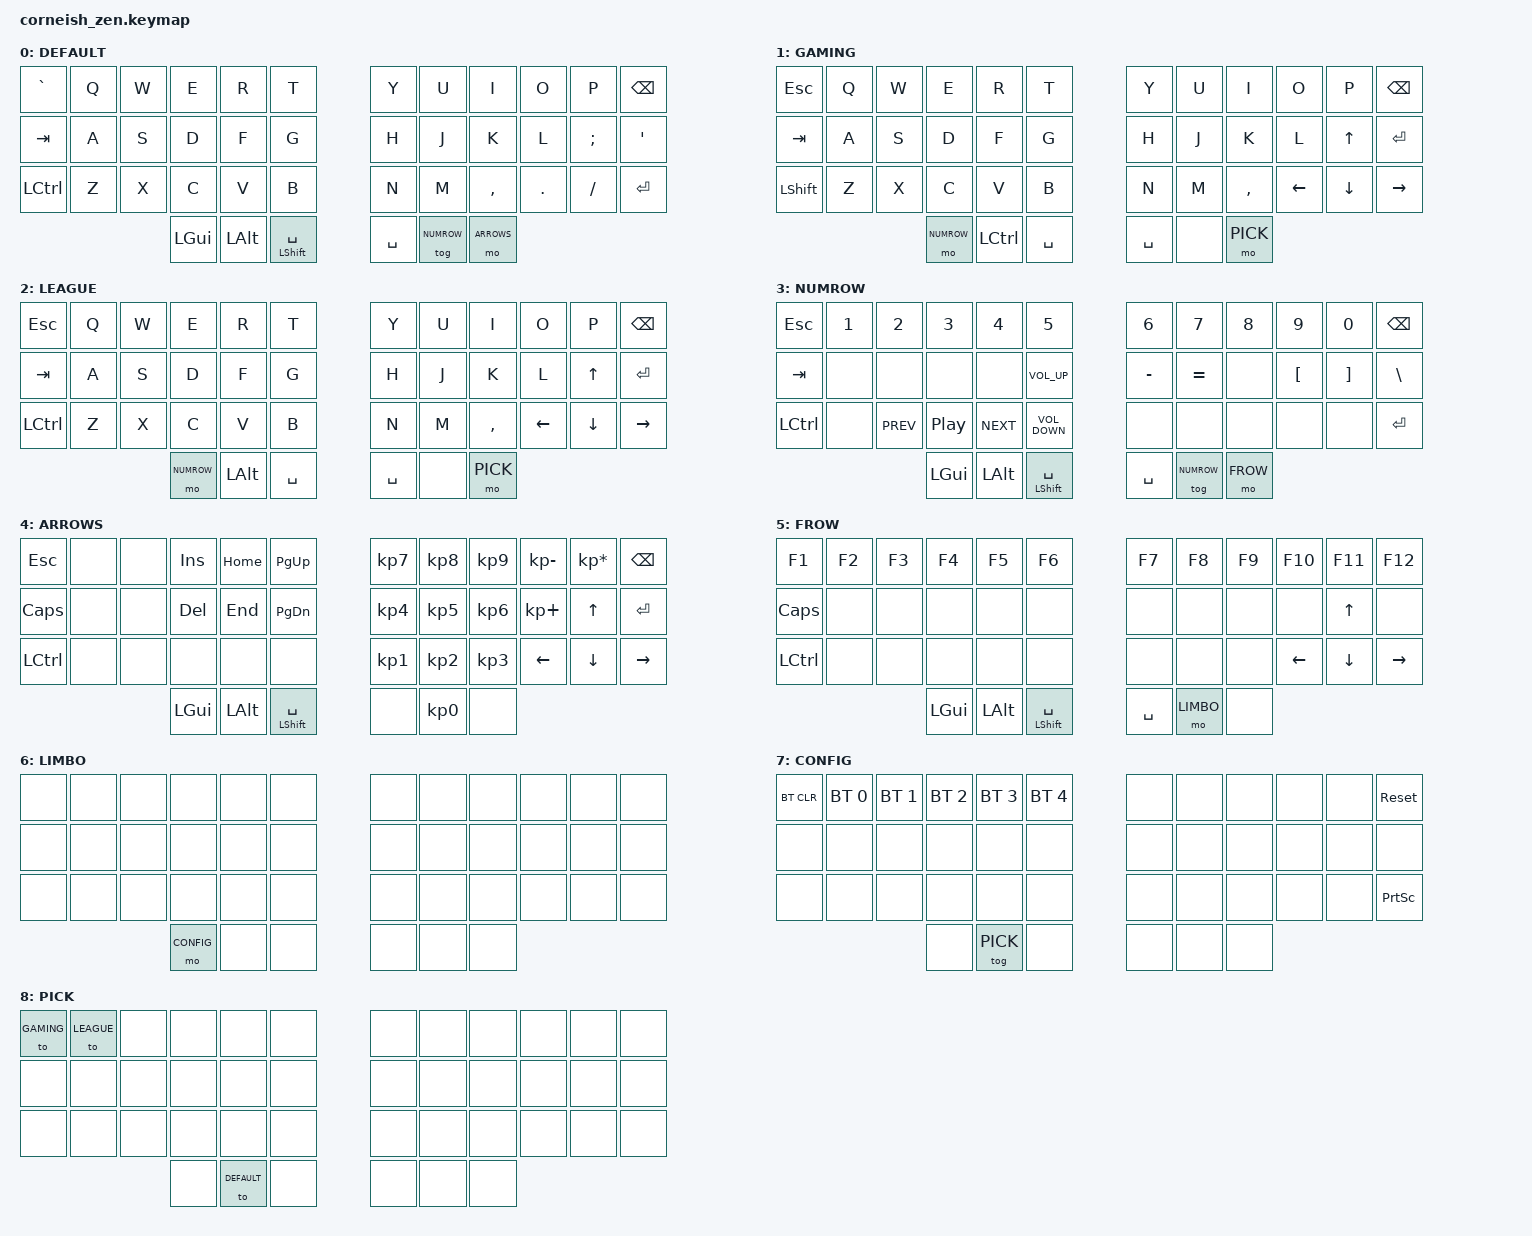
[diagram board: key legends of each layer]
#include <behaviors.dtsi>
#include <dt-bindings/zmk/keys.h>
#include <dt-bindings/zmk/bt.h>

#define DEFAULT 0
#define GAMING 1
#define LEAGUE 2
#define NUMROW 3
#define ARROWS 4
#define FROW 5
#define LIMBO 6
#define CONFIG 7
#define PICK 8

/ {
        keymap {
                compatible = "zmk,keymap";


// -----------------------------------------------------------------------------------------
// |  `~  |  Q  |  W  |  E  |  R  |  T  |      |  Y  |  U  |  I  |  O  |  P  | BKSP |
// | TAB  |  A  |  S  |  D  |  F  |  G  |      |  H  |  J  |  K  |  L  | ;:  | '"   |
// | CTRL |  Z  |  X  |  C  |  V  |  B  |      |  N  |  M  |  <, | .>  | /?  | ENTR |
//                    | GUI | ALT | SHIFT/SPC |  | SPACE |  NUMROW  |  ARROWS  |
//
                default_layer {
                        label = "DEFAULT";
                        bindings = <
   &kp GRAVE  &kp Q  &kp W  &kp E  &kp R  &kp T    &kp Y  &kp U  &kp I     &kp O    &kp P     &kp BSPC
   &kp TAB    &kp A  &kp S  &kp D  &kp F  &kp G    &kp H  &kp J  &kp K     &kp L    &kp SEMI  &kp SQT
   &kp LCTRL  &kp Z  &kp X  &kp C  &kp V  &kp B    &kp N  &kp M  &kp COMMA &kp DOT  &kp FSLH  &kp ENTER
                &kp LGUI  &kp LALT  &mt LSHIFT SPACE   &kp SPACE  &tog NUMROW  &mo ARROWS
                        >;
                };


// -----------------------------------------------------------------------------------------
// | ESC  |  Q  |  W  |  E  |  R  |  T  |      |  Y  |  U  |  I  |  O  |  P  | BKSP |
// | TAB  |  A  |  S  |  D  |  F  |  G  |      |  H  |  J  |  K  |  L  |  ⬆  | ENTR |
// | SHFT |  Z  |  X  |  C  |  V  |  B  |      |  N  |  M  |  <, |  ⬅ |  ⬇  |  ⮕  |
//                  | NUMROW | CTRL | SPACE |  | SPACE |     | PICK |
//
                gaming_layer {
                        label = "GAMING";
                        bindings = <
   &kp ESC  &kp Q &kp W &kp E &kp R &kp T    &kp Y &kp U &kp I    &kp O   &kp P    &kp BKSP
   &kp TAB  &kp A &kp S &kp D &kp F &kp G    &kp H &kp J &kp K    &kp L   &kp UP &kp ENTER
   &kp LSHFT &kp Z &kp X &kp C &kp V &kp B    &kp N &kp M &kp CMMA &kp LEFT &kp DOWN &kp RIGHT
               &mo NUMROW &kp LCTRL &kp SPC    &kp SPC &none &mo PICK
                        >;
                };

// -----------------------------------------------------------------------------------------
// | ESC  |  Q  |  W  |  E  |  R  |  T  |      |  Y  |  U  |  I  |  O  |  P  | BKSP |
// | TAB  |  A  |  S  |  D  |  F  |  G  |      |  H  |  J  |  K  |  L  |  ⬆  | ENTR |
// | CTRL |  Z  |  X  |  C  |  V  |  B  |      |  N  |  M  |  <, |  ⬅ |  ⬇  |  ⮕  |
//                   |NUMROW| ALT | SPACE |  | SPACE |     | PICK |
//
                league_layer {
                        label = "LEAGUE";
                        bindings = <
   &kp ESC  &kp Q &kp W &kp E &kp R &kp T    &kp Y &kp U &kp I    &kp O   &kp P    &kp BKSP
   &kp TAB  &kp A &kp S &kp D &kp F &kp G    &kp H &kp J &kp K    &kp L   &kp UP &kp ENTER
   &kp LCTRL &kp Z &kp X &kp C &kp V &kp B    &kp N &kp M &kp CMMA &kp LEFT &kp DOWN &kp RIGHT
               &mo NUMROW &kp LALT &kp SPC    &kp SPC &none &mo PICK
                        >;
                };

// -----------------------------------------------------------------------------------------
// | ESC  |  1! |  2@ |  3# |  4$ |  5% |      |  6^ |  7& |  8* | 9(  | 0)  | BKSP |
// | TAB  |     |     |     |     |VOLUP|      | -_  |  =+ |     | [{  | ]}  |  \|  |
// | CTRL |     |PREV|PLY/PSE|NEXT|VOLDN|      |     |     |     |     |     | ENTR |
//                    | GUI | ALT | SHIFT/SPC |  | SPACE | NUMROW | FROW |
//
                numrow_layer {
                        label = "NUMROW";
                        bindings = <
   &kp ESC   &kp N1 &kp N2 &kp N3 &kp N4 &kp N5      &kp N6 &kp N7 &kp N8 &kp N9 &kp N0 &kp BSPC
   &kp TAB   &none  &none  &none  &none  &kp C_VOLUME_UP       &kp MINUS &kp EQUAL &none &kp LBKT &kp RBKT &kp BSLH
   &kp LCTRL &none  &kp C_PREV  &kp C_PP  &kp C_NEXT  &kp C_VOLUME_DOWN       &none  &none  &none  &none  &none  &kp ENTER 
                &kp LGUI  &kp LALT &mt LSHIFT SPACE   &kp SPACE &tog NUMROW &mo FROW
                        >;
                };


// -----------------------------------------------------------------------------------------
// | ESC  |     |     | INS |HOME |PGUP |      |  7  |  8  |  9  |  -  |  *  | BKSP |
// | CAPS |     |     | DEL | END |PGDN |      |  4  |  5  |  6  |  +  |  ⬆  | ENTR |
// | CTRL |     |     |     |     |     |      |  1  |  2  |  3  |  ⬅ |  ⬇  |  ⮕  |
//                    | GUI | ALT | SHIFT/SPC |  |   |  0  |     |
//
                arrows_layer {
                        label = "ARROWS";
                        bindings = <
   &kp ESC     &none &none &kp INSERT &kp HOME &kp PG_UP       &kp KP_N7 &kp KP_N8 &kp KP_N9 &kp KP_MINUS &kp KP_MULTIPLY &kp BSPC
   &kp CAPS &none &none &kp DEL &kp END &kp PG_DN   &kp KP_N4 &kp KP_N5 &kp KP_N6 &kp KP_PLUS  &kp UP &kp ENTER
   &kp LCTRL &none &none &none &none &none       &kp KP_N1 &kp KP_N2 &kp KP_N3 &kp LEFT &kp DOWN &kp RIGHT
              &kp LGUI  &kp LALT  &mt LSHIFT SPACE              &none &kp KP_N0 &none
                        >;
                };


// -----------------------------------------------------------------------------------------
// |  F1  | F2  | F3  | F4  | F5  | F6  |      | F7  | F8   | F9  | F10 | F11 |  F12 |
// | CAPS |     |     |     |     |     |      |     |      |     |     |  ⬆  |      |
// | CTRL |     |     |     |     |     |      |     |      |     |  ⬅ |  ⬇  |  ⮕  |
//                    | GUI | ALT | SHIFT/SPC |  | SPACE |LIMBO |     |
//
                frow_layer {
                        label = "FROW";
                        bindings = <
   &kp F1 &kp F2 &kp F3 &kp F4 &kp F5 &kp F6      &kp F7 &kp F8 &kp F9 &kp F10 &kp F11 &kp F12
   &kp CAPS  &none &none &none &none &none     &none &none &none &none &kp UP &none
   &kp LCTRL &none &none &none &none &none          &none &none &none &kp LEFT &kp DOWN &kp RIGHT
        &kp LGUI  &kp LALT &mt LSHIFT SPACE    &kp SPC &mo LIMBO &none
                        >;
                };


// -----------------------------------------------------------------------------------------
// |      |     |     |     |     |     |      |     |      |     |     |     |      |
// |      |     |     |     |     |     |      |     |      |     |     |     |      |
// |      |     |     |     |     |     |      |     |      |     |     |     |      |
//                   |CONFIG|     |     |      |     |      |     |
//
                limbo_layer {
                        label = "LIMBO";
                        bindings = <
   &none &none &none &none &none &none    &none &none &none &none &none &none 
   &none &none &none &none &none &none    &none &none &none &none &none &none
   &none &none &none &none &none &none    &none &none &none &none &none &none
                     &mo CONFIG &none &none    &none &none &none
                        >;
                };


// -----------------------------------------------------------------------------------------
// |BT_CLR| BT 0 | BT 1 | BT 2 | BT 3 | BT 4 |      |     |      |     |     |     | RESET|
// |      |      |      |      |      |      |      |     |      |     |     |     |      |
// |      |      |      |      |      |      |      |     |      |     |     |     |PRNTSC|
//                      |      | PICK |        |  |       |      |     |
//
                config_layer {
                        label = "CONFIG";
                        bindings = <
   &bt BT_CLR &bt BT_SEL 0 &bt BT_SEL 1 &bt BT_SEL 2 &bt BT_SEL 3 &bt BT_SEL 4     &none &none &none &none &none &sys_reset 
   &none &none &none &none &none &none                                             &none &none &none &none &none &none
   &none &none &none &none &none &none                                             &none &none &none &none &none &kp PRINTSCREEN
                   &none &tog PICK &none                                                 &none &none &none
                        >;
                };

// -----------------------------------------------------------------------------------------
// |GAMING|LEAGUE|VALOR |MAPLE |      |      |      |     |      |     |     |     |      |
// |      |      |      |      |      |      |      |     |      |     |     |     |      |
// |      |      |      |      |      |      |      |     |      |     |     |     |      |
//                      |      |DEFAULT|        |  |       |      |     |
//
                pick_layer {
                        label = "PICK";
                        bindings = <
   &to GAMING &to LEAGUE &none &none &none &none     &none &none &none &none &none &none 
   &none &none &none &none &none &none                                             &none &none &none &none &none &none
   &none &none &none &none &none &none                                             &none &none &none &none &none &none
                   &none &to DEFAULT &none                                                 &none &none &none
                        >;
                };
        };
};





// -----------------------------------------------------------------------------------------
// |      |     |     |     |     |     |      |     |      |     |     |     |      |
// |      |     |     |     |     |     |      |     |      |     |     |     |      |
// |      |     |     |     |     |     |      |     |      |     |     |     |      |
//                    |     |     |     |      |     |      |     |
//
//              empty_layer {
//                      label = "EMPTY";
//                      bindings = <
//   &none &none &none &none &none &none    &none &none &none &none &none &none 
//   &none &none &none &none &none &none    &none &none &none &none &none &none
//   &none &none &none &none &none &none    &none &none &none &none &none &none
//                     &none &none &none    &none &none &none
//                       >;
//              };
